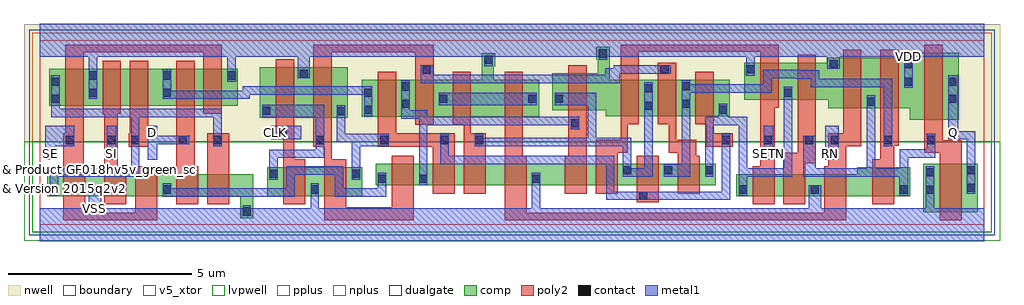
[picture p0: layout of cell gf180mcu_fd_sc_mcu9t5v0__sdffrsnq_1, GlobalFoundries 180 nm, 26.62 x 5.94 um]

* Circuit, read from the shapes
.subckt gf180mcu_fd_sc_mcu9t5v0__sdffrsnq_1 CLK D Q RN SE SETN SI VDD VSS
XM1 VSS SE n1 VSUBS nfet_05v0 w=0.59u l=0.6u
XM2 n2 SI VSS VSUBS nfet_05v0 w=0.59u l=0.6u
XM3 n3 SE n2 VSUBS nfet_05v0 w=0.59u l=0.6u
XM4 n4 D n3 VSUBS nfet_05v0 w=0.59u l=0.6u
XM5 VSS n1 n4 VSUBS nfet_05v0 w=0.59u l=0.6u
XM6 VSS CLK n5 VSUBS nfet_05v0 w=0.79u l=0.6u
XM7 n6 n5 VSS VSUBS nfet_05v0 w=0.79u l=0.6u
XM8 n7 n5 n3 VSUBS nfet_05v0 w=0.59u l=0.6u
XM9 n8 n6 n7 VSUBS nfet_05v0 w=0.59u l=0.6u
XM10 n9 n10 n8 VSUBS nfet_05v0 w=0.59u l=0.6u
XM11 VSS RN n9 VSUBS nfet_05v0 w=0.59u l=0.6u
XM12 n11 n7 VSS VSUBS nfet_05v0 w=0.59u l=0.6u
XM13 n10 SETN n11 VSUBS nfet_05v0 w=0.59u l=0.6u
XM14 n12 n6 n10 VSUBS nfet_05v0 w=0.59u l=0.6u
XM15 n13 n5 n12 VSUBS nfet_05v0 w=0.59u l=0.6u
XM16 n14 SETN n13 VSUBS nfet_05v0 w=0.59u l=0.6u
XM17 VSS n15 n14 VSUBS nfet_05v0 w=0.59u l=0.6u
XM18 n16 RN VSS VSUBS nfet_05v0 w=0.59u l=0.6u
XM19 n15 n12 n16 VSUBS nfet_05v0 w=0.79u l=0.6u
XM20 Q n15 VSS VSUBS nfet_05v0 w=1.32u l=0.6u
XM21 VDD SE n1 n17 pfet_05v0 w=1u l=0.5u
XM22 n18 SI VDD n17 pfet_05v0 w=1u l=0.5u
XM23 n19 n1 n18 n17 pfet_05v0 w=1u l=0.5u
XM24 n20 D n19 n17 pfet_05v0 w=1u l=0.5u
XM25 VDD SE n20 n17 pfet_05v0 w=1u l=0.5u
XM26 VDD CLK n5 n17 pfet_05v0 w=1.38u l=0.5u
XM27 n6 n5 VDD n17 pfet_05v0 w=1.38u l=0.5u
XM28 n7 n6 n19 n17 pfet_05v0 w=1u l=0.5u
XM29 n21 n5 n7 n17 pfet_05v0 w=1u l=0.5u
XM30 VDD n10 n21 n17 pfet_05v0 w=1u l=0.5u
XM31 n21 RN VDD n17 pfet_05v0 w=1u l=0.5u
XM32 VDD n7 n10 n17 pfet_05v0 w=1u l=0.5u
XM33 n10 SETN VDD n17 pfet_05v0 w=1u l=0.5u
XM34 n12 n5 n10 n17 pfet_05v0 w=1u l=0.5u
XM35 n13 n6 n12 n17 pfet_05v0 w=1u l=0.5u
XM36 n13 SETN VDD n17 pfet_05v0 w=1u l=0.5u
XM37 VDD n15 n13 n17 pfet_05v0 w=1u l=0.5u
XM38 n15 RN VDD n17 pfet_05v0 w=1.38u l=0.5u
XM39 VDD n12 n15 n17 pfet_05v0 w=1.38u l=0.5u
XM40 Q n15 VDD n17 pfet_05v0 w=1.83u l=0.5u
.ends

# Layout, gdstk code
import gdstk
lib = gdstk.Library(unit=1e-6, precision=1e-09)
def R(c, l, rs):  # rectangles x0, y0, x1, y1
    for r in rs: c.add(gdstk.rectangle(r[:2], r[2:], *l))
def A(c, l, x, y, w, h, nx, ny, dx, dy):  # array of equal rectangles
    R(c, l, [(x+i*dx, y+j*dy, x+i*dx+w, y+j*dy+h) for i in range(nx) for j in range(ny)])
def P(c, l, *ps):  # polygons
    for p in ps: c.add(gdstk.Polygon(p, *l))
boundary = (0, 0)
nwell = (21, 0)
comp = (22, 0)
poly2 = (30, 0)
pplus = (31, 0)
nplus = (32, 0)
contact = (33, 0)
metal1 = (34, 0)
dualgate = (55, 0)
v5_xtor = (112, 1)
lvpwell = (204, 0)

gf180mcu_fd_sc_mcu9t5v0_ = lib.new_cell('gf180mcu_fd_sc_mcu9t5v0__sdffrsnq_1')
R(gf180mcu_fd_sc_mcu9t5v0_, boundary, [(0,0,25.76,5.04)])
R(gf180mcu_fd_sc_mcu9t5v0_, nwell, [(-0.43,2.265,26.19,5.47)])
R(gf180mcu_fd_sc_mcu9t5v0_, comp, [(24.1,0.345,25.58,1.665), (6.2,0.785,8.8,1.575), (9.16,1.075,18.44,1.665), (6,2.92,8.4,4.3), (0.255,3.255,5.405,4.255)])
P(gf180mcu_fd_sc_mcu9t5v0_, comp, [(5.465,0.185),(5.465,0.785),(0.205,0.785),(0.205,1.375),(5.825,1.375),(5.825,0.185)],
  [(8.78,2.955),(8.78,3.955),(12.06,3.955),(12.06,4.68),(12.42,4.68),(12.42,4.325),(12.38,4.325),(12.38,3.955),(13.62,3.955),(13.62,2.955)],
  [(15.44,2.96),(15.44,3.13),(13.98,3.13),(13.98,4.13),(15.22,4.13),(15.22,4.5),(15.18,4.5),(15.18,4.855),(15.54,4.855),(15.54,3.96),(18.82,3.96),(18.82,2.96)],
  [(19,0.785),(19,1.375),(22.3,1.375),(22.3,1.575),(23.74,1.575),(23.74,0.785)],
  [(23.73,2.865),(23.73,3.18),(21.51,3.18),(21.51,3.42),(19.21,3.42),(19.21,4.42),(21.47,4.42),(21.47,4.56),(23.73,4.56),(23.73,4.695),(25.07,4.695),(25.07,2.865)])
R(gf180mcu_fd_sc_mcu9t5v0_, poly2, [(4.565,0.565,5.165,2.495), (16.28,0.615,16.88,1.885)])
P(gf180mcu_fd_sc_mcu9t5v0_, poly2, [(1.765,0.565),(1.765,3.035),(1.715,3.035),(1.715,4.475),(2.215,4.475),(2.215,3.035),(2.125,3.035),(2.125,1.595),(2.365,1.595),(2.365,0.565)],
  [(2.425,2.135),(2.425,2.495),(2.455,2.495),(2.455,4.475),(2.955,4.475),(2.955,2.135)],
  [(3.725,0.565),(3.725,4.475),(4.225,4.475),(4.225,1.595),(4.325,1.595),(4.325,0.565)],
  [(0.645,0.125),(0.645,2.495),(0.695,2.495),(0.695,4.915),(4.965,4.915),(4.965,3.035),(4.465,3.035),(4.465,4.715),(1.195,4.715),(1.195,1.595),(1.245,1.595),(1.245,0.325),(2.605,0.325),(2.605,1.595),(3.205,1.595),(3.205,0.125)],
  [(6.64,0.565),(6.64,2.415),(6.44,2.415),(6.44,4.52),(6.94,4.52),(6.94,1.795),(7.24,1.795),(7.24,0.565)],
  [(7.76,0.125),(7.76,2.135),(7.46,2.135),(7.46,4.915),(10.74,4.915),(10.74,2.735),(10.24,2.735),(10.24,4.715),(7.96,4.715),(7.96,1.795),(8.36,1.795),(8.36,0.485),(9.6,0.485),(9.6,1.885),(10.2,1.885),(10.2,0.125)],
  [(10.72,0.855),(10.72,2.135),(9.22,2.135),(9.22,4.175),(9.72,4.175),(9.72,2.495),(11.32,2.495),(11.32,0.855)],
  [(11.56,0.855),(11.56,2.735),(11.26,2.735),(11.26,4.175),(11.76,4.175),(11.76,2.495),(12.16,2.495),(12.16,0.855)],
  [(14.32,0.855),(14.32,1.885),(14.42,1.885),(14.42,4.35),(14.92,4.35),(14.92,0.855)],
  [(17.4,0.855),(17.4,1.965),(17.16,1.965),(17.16,2.74),(16.86,2.74),(16.86,4.42),(17.36,4.42),(17.36,2.325),(17.9,2.325),(17.9,1.885),(18,1.885),(18,0.855)],
  [(18.18,2.135),(18.18,2.74),(17.88,2.74),(17.88,4.18),(18.38,4.18),(18.38,2.495),(18.9,2.495),(18.9,2.135)],
  [(19.44,0.565),(19.44,1.595),(19.65,1.595),(19.65,4.72),(16.34,4.72),(16.34,2.74),(16.04,2.74),(16.04,1.965),(15.76,1.965),(15.76,0.855),(15.16,0.855),(15.16,2.325),(15.84,2.325),(15.84,4.92),(20.15,4.92),(20.15,3.2),(20.04,3.2),(20.04,0.565)],
  [(20.28,0.565),(20.28,1.97),(20.67,1.97),(20.67,4.64),(21.17,4.64),(21.17,1.675),(20.88,1.675),(20.88,0.565)],
  [(12.68,0.125),(12.68,4.175),(13.18,4.175),(13.18,1.885),(13.28,1.885),(13.28,0.325),(21.4,0.325),(21.4,1.595),(21.5,1.595),(21.5,2.495),(21.91,2.495),(21.91,4.78),(22.41,4.78),(22.41,2.145),(22,2.145),(22,0.125)],
  [(22.7,0.565),(22.7,1.795),(22.93,1.795),(22.93,4.78),(23.43,4.78),(23.43,2.165),(23.3,2.165),(23.3,0.565)],
  [(24.54,0.125),(24.54,1.965),(24.13,1.965),(24.13,4.915),(24.63,4.915),(24.63,2.315),(25.14,2.315),(25.14,0.125)])
R(gf180mcu_fd_sc_mcu9t5v0_, pplus, [(-0.2,2.265,25.96,5.24)])
R(gf180mcu_fd_sc_mcu9t5v0_, nplus, [(-0.2,-0.2,25.96,2.265)])
A(gf180mcu_fd_sc_mcu9t5v0_, contact, 15.91, 1.375, 0.22, 0.22, 3, 1, 1.12, 0)
R(gf180mcu_fd_sc_mcu9t5v0_, contact, [(5.535,0.255,5.755,0.475), (16.35,0.685,16.57,0.905), (24.17,0.85,24.39,1.07), (0.275,0.855,0.495,1.075), (1.395,0.855,1.615,1.075), (3.355,0.855,3.575,1.075), (7.39,0.855,7.61,1.075), (19.07,0.855,19.29,1.075), (21.03,0.855,21.25,1.075), (23.45,0.855,23.67,1.075), (25.29,0.905,25.51,1.125), (9.23,1.145,9.45,1.365), (10.35,1.145,10.57,1.365), (13.43,1.145,13.65,1.365), (6.27,1.285,6.49,1.505), (8.51,1.285,8.73,1.505), (24.17,1.32,24.39,1.54), (25.29,1.375,25.51,1.595), (0.715,2.205,0.935,2.425), (1.835,2.205,2.055,2.425), (2.495,2.205,2.715,2.425), (3.795,2.205,4.015,2.425), (4.735,2.205,4.955,2.425), (7.53,2.205,7.75,2.425), (9.29,2.205,9.51,2.425), (10.93,2.205,11.15,2.425), (11.87,2.205,12.09,2.425), (18.61,2.205,18.83,2.425), (19.75,2.205,19.97,2.425), (20.88,2.205,21.1,2.425), (21.57,2.205,21.79,2.425), (23.02,2.205,23.24,2.425), (24.2,2.205,24.42,2.425), (6.51,2.485,6.73,2.705), (14.49,2.665,14.71,2.885), (8.11,2.99,8.33,3.21), (6.07,3,6.29,3.22), (8.85,3.025,9.07,3.245), (18.53,3.03,18.75,3.25), (16.49,3.145,16.71,3.365), (9.87,3.195,10.09,3.415), (17.51,3.2,17.73,3.42), (22.56,3.25,22.78,3.47), (0.325,3.325,0.545,3.545), (10.89,3.325,11.11,3.545), (13.33,3.325,13.55,3.545), (14.05,3.325,14.27,3.545), (24.78,3.325,25,3.545), (20.3,3.49,20.52,3.71), (1.345,3.495,1.565,3.715), (3.355,3.495,3.575,3.715), (8.85,3.495,9.07,3.715), (16.49,3.615,16.71,3.835), (9.87,3.665,10.09,3.885), (17.51,3.67,17.73,3.89), (0.325,3.795,0.545,4.015), (24.78,3.795,25,4.015), (23.58,3.8,23.8,4.02), (1.345,3.965,1.565,4.185), (3.355,3.965,3.575,4.185), (5.115,3.965,5.335,4.185), (7.09,4.01,7.31,4.23), (10.45,4.125,10.67,4.345), (16.93,4.13,17.15,4.35), (19.28,4.13,19.5,4.35), (21.54,4.27,21.76,4.49), (23.58,4.27,23.8,4.49), (12.13,4.39,12.35,4.61), (15.25,4.565,15.47,4.785)])
R(gf180mcu_fd_sc_mcu9t5v0_, metal1, [(1.83,1.77,2.09,2.71), (19.745,1.77,20.01,2.71), (21.43,1.77,21.795,2.71), (6.31,2.33,7.13,2.71), (10.885,3.265,13.555,3.605)])
P(gf180mcu_fd_sc_mcu9t5v0_, metal1, [(0.15,1.77),(0.15,2.71),(0.94,2.71),(0.94,2.145),(0.41,2.145),(0.41,1.77)],
  [(2.95,1.77),(2.95,2.71),(3.21,2.71),(3.21,2.43),(4.075,2.43),(4.075,2.2),(3.21,2.2),(3.21,1.77)],
  [(0.27,0.795),(0.27,1.54),(2.49,1.54),(2.49,2.94),(0.32,2.94),(0.32,4.075),(0.55,4.075),(0.55,3.17),(4.96,3.17),(4.96,2.145),(4.73,2.145),(4.73,2.94),(2.72,2.94),(2.72,1.31),(0.5,1.31),(0.5,0.795)],
  [(6.265,1.225),(6.265,2.055),(7.525,2.055),(7.525,2.94),(6.065,2.94),(6.065,3.28),(7.755,3.28),(7.755,1.825),(6.495,1.825),(6.495,1.225)],
  [(8.845,2.965),(8.845,3.545),(5.73,3.545),(5.73,3.435),(3.35,3.435),(3.35,4.245),(3.58,4.245),(3.58,3.665),(5.53,3.665),(5.53,3.775),(9.075,3.775),(9.075,2.965)],
  [(3.35,0.765),(3.35,1.135),(3.58,1.135),(3.58,0.995),(6.725,0.995),(6.725,1.595),(8.275,1.595),(8.275,0.995),(9.225,0.995),(9.225,1.425),(9.455,1.425),(9.455,0.765),(8.045,0.765),(8.045,1.365),(6.955,1.365),(6.955,0.765)],
  [(8.505,1.225),(8.505,2.255),(8.105,2.255),(8.105,3.27),(8.335,3.27),(8.335,2.485),(9.515,2.485),(9.515,2.145),(8.735,2.145),(8.735,1.225)],
  [(10.345,1.085),(10.345,2.895),(9.865,2.895),(9.865,3.945),(10.095,3.945),(10.095,3.125),(10.57,3.125),(10.57,2.945),(14.715,2.945),(14.715,2.605),(14.485,2.605),(14.485,2.715),(10.575,2.715),(10.575,1.085)],
  [(15.905,1.315),(15.905,2.145),(11.865,2.145),(11.865,2.485),(12.095,2.485),(12.095,2.375),(14.945,2.375),(14.945,3.265),(14.045,3.265),(14.045,3.605),(15.175,3.605),(15.175,2.375),(16.135,2.375),(16.135,1.545),(16.485,1.545),(16.485,3.895),(16.715,3.895),(16.715,1.315)],
  [(10.39,3.87),(10.39,4.35),(10.73,4.35),(10.73,4.1),(15.42,4.1),(15.42,4.275),(15.65,4.275),(15.65,4.355),(17.21,4.355),(17.21,4.125),(15.825,4.125),(15.825,3.87)],
  [(15.445,0.68),(15.445,1.655),(10.925,1.655),(10.925,2.485),(11.155,2.485),(11.155,1.885),(15.675,1.885),(15.675,0.91),(18.605,0.91),(18.605,2.485),(18.835,2.485),(18.835,0.68)],
  [(19.065,0.795),(19.065,2.715),(18.375,2.715),(18.375,1.315),(18.145,1.315),(18.145,2.945),(18.525,2.945),(18.525,3.31),(18.755,3.31),(18.755,2.945),(19.295,2.945),(19.295,1.54),(20.295,1.54),(20.295,3.77),(20.525,3.77),(20.525,1.31),(19.295,1.31),(19.295,0.795)],
  [(17.025,1.315),(17.025,1.655),(17.505,1.655),(17.505,3.95),(17.735,3.95),(17.735,3.84),(19.735,3.84),(19.735,4.23),(20.695,4.23),(20.695,4.215),(21.255,4.215),(21.255,3.99),(23.245,3.99),(23.245,2.145),(23.015,2.145),(23.015,3.76),(21.025,3.76),(21.025,3.985),(20.61,3.985),(20.61,4),(19.965,4),(19.965,3.61),(17.735,3.61),(17.735,1.315)],
  [(23.445,0.795),(23.445,1.31),(20.82,1.31),(20.82,2.43),(21.16,2.43),(21.16,1.54),(22.555,1.54),(22.555,3.53),(22.785,3.53),(22.785,1.54),(23.46,1.54),(23.46,2.06),(24.195,2.06),(24.195,2.485),(24.425,2.485),(24.425,1.83),(23.69,1.83),(23.69,0.795)],
  [(25.285,0.845),(25.285,2.33),(24.775,2.33),(24.775,4.075),(25.05,4.075),(25.05,2.56),(25.515,2.56),(25.515,0.845)],
  [(0,-0.45),(0,0.45),(1.335,0.45),(1.335,1.08),(1.675,1.08),(1.675,0.45),(5.53,0.45),(5.53,0.535),(5.76,0.535),(5.76,0.45),(7.385,0.45),(7.385,1.135),(7.615,1.135),(7.615,0.45),(13.425,0.45),(13.425,1.425),(13.655,1.425),(13.655,0.45),(20.97,0.45),(20.97,1.08),(21.31,1.08),(21.31,0.45),(24.165,0.45),(24.165,1.6),(24.395,1.6),(24.395,0.45),(25.76,0.45),(25.76,-0.45)],
  [(1.34,3.435),(1.34,4.59),(0,4.59),(0,5.49),(25.76,5.49),(25.76,4.59),(23.805,4.59),(23.805,3.74),(23.575,3.74),(23.575,4.59),(21.82,4.59),(21.82,4.265),(21.48,4.265),(21.48,4.59),(19.505,4.59),(19.505,4.07),(19.275,4.07),(19.275,4.59),(15.475,4.59),(15.475,4.505),(15.245,4.505),(15.245,4.59),(12.355,4.59),(12.355,4.33),(12.125,4.33),(12.125,4.59),(7.37,4.59),(7.37,4.005),(7.03,4.005),(7.03,4.59),(5.34,4.59),(5.34,3.905),(5.11,3.905),(5.11,4.59),(1.57,4.59),(1.57,3.435)])
R(gf180mcu_fd_sc_mcu9t5v0_, dualgate, [(-0.28,-0.28,26.04,5.32)])
R(gf180mcu_fd_sc_mcu9t5v0_, v5_xtor, [(0,0,25.76,5.04)])
R(gf180mcu_fd_sc_mcu9t5v0_, lvpwell, [(-0.43,-0.43,26.19,2.265)])
gf180mcu_fd_sc_mcu9t5v0_.add(gdstk.Label('CLK', (6.44,2.52), layer=34, texttype=10))
gf180mcu_fd_sc_mcu9t5v0_.add(gdstk.Label('D', (3.08,2.52), layer=34, texttype=10))
gf180mcu_fd_sc_mcu9t5v0_.add(gdstk.Label('Q', (24.92,2.52), layer=34, texttype=10))
gf180mcu_fd_sc_mcu9t5v0_.add(gdstk.Label('RN', (21.56,1.96), layer=34, texttype=10))
gf180mcu_fd_sc_mcu9t5v0_.add(gdstk.Label('SE', (0.28,1.96), layer=34, texttype=10))
gf180mcu_fd_sc_mcu9t5v0_.add(gdstk.Label('SETN', (19.88,1.96), layer=34, texttype=10))
gf180mcu_fd_sc_mcu9t5v0_.add(gdstk.Label('SI', (1.96,1.96), layer=34, texttype=10))
gf180mcu_fd_sc_mcu9t5v0_.add(gdstk.Label('VDD', (23.69,4.59), layer=34, texttype=10))
gf180mcu_fd_sc_mcu9t5v0_.add(gdstk.Label('VSS', (1.505,0.45), layer=34, texttype=10))
gf180mcu_fd_sc_mcu9t5v0_.add(gdstk.Label('& Vendor GLOBALFOUNDRIES', (0,2), layer=63, texttype=63))
gf180mcu_fd_sc_mcu9t5v0_.add(gdstk.Label('& Product GF018hv5v_green_sc9', (0,1.5), layer=63, texttype=63))
gf180mcu_fd_sc_mcu9t5v0_.add(gdstk.Label('& Version 2015q2v2', (0,1), layer=63, texttype=63))
gf180mcu_fd_sc_mcu9t5v0_.add(gdstk.Label('& Metric 1.00', (0,0.5), layer=63, texttype=63))

lib.write_gds('gf180mcu_fd_sc_mcu9t5v0__sdffrsnq_1.gds')
